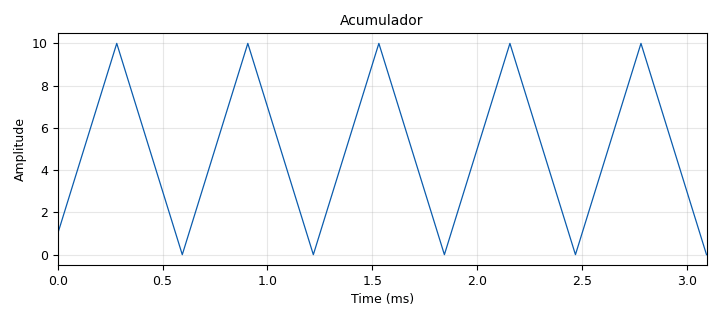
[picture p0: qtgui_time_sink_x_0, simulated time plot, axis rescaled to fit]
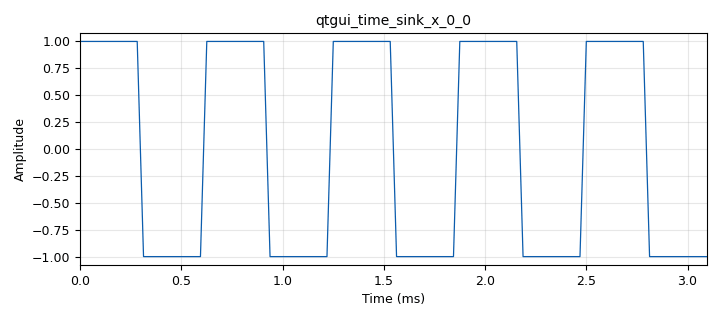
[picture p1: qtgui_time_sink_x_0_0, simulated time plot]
options:
  parameters:
    generate_options: qt_gui
    id: P1
    output_language: python
    title: Not titled yet
  states: {}

blocks:
- name: samp_rate
  id: variable
  parameters:
    value: '32000'
  states: {}
- name: blocks_throttle2_0
  id: blocks_throttle2
  parameters:
    samples_per_second: samp_rate
    type: float
  states: {}
- name: blocks_vector_source_x_0
  id: blocks_vector_source_x
  parameters:
    repeat: 'True'
    type: float
    vector: (1,1,1,1,1,1,1,1,1,1,-1,-1,-1,-1,-1,-1,-1,-1,-1,-1)
  states: {}
- name: epy_block_1
  id: epy_block
  parameters:
    _source_code: |-
      """
      Embedded Python Blocks:

      Each time this file is saved, GRC will instantiate the first class it finds
      to get ports and parameters of your block. The arguments to __init__  will
      be the parameters. All of them are required to have default values!
      """

      import numpy as np
      from gnuradio import gr


      class e_Acum(gr.sync_block):
          def __init__(self):
              gr.sync_block.__init__(
                  self,
                  name="e_Acum",
                  in_sig=[np.float32],
                  out_sig=[np.float32]
              )
              self.acum_anterior = 0.0

          def work(self, input_items, output_items):
              x = input_items[0]
              y0 = output_items[0]

              y0[:] = np.cumsum(x) + self.acum_anterior
              self.acum_anterior = y0[-1]

              return len(y0)
  states: {}
- name: epy_block_2
  id: epy_block
  parameters:
    _source_code: |-
      """
      Embedded Python Blocks:

      Each time this file is saved, GRC will instantiate the first class it finds
      to get ports and parameters of your block. The arguments to __init__  will
      be the parameters. All of them are required to have default values!
      """

      import numpy as np
      from gnuradio import gr


      class e_Diff(gr.sync_block):
              def __init__(self):
                  gr.sync_block.__init__(
                      self,
                      name='e_Diff',
                      in_sig=[np.float32],
                      out_sig=[np.float32]
                  )
                  self.prev_value = 0.0

              def work(self, input_items, output_items):
                  x = input_items[0]
                  y0 = output_items[0]

                  diff = np.diff(np.concatenate(([self.prev_value], x)))
                  y0[:] = diff

                  self.prev_value = x[-1]

                  return len(y0)
  states: {state: disabled}
- name: qtgui_time_sink_x_0
  id: qtgui_time_sink_x
  parameters:
    name: '"Acumulador"'
    size: '100'
    srate: samp_rate
    type: float
  states: {}
- name: qtgui_time_sink_x_0_0
  id: qtgui_time_sink_x
  parameters:
    size: '100'
    srate: samp_rate
    type: float
  states: {}

connections:
- [blocks_throttle2_0, '0', qtgui_time_sink_x_0, '0']
- [blocks_vector_source_x_0, '0', epy_block_1, '0']
- [blocks_vector_source_x_0, '0', epy_block_2, '0']
- [blocks_vector_source_x_0, '0', qtgui_time_sink_x_0_0, '0']
- [epy_block_1, '0', blocks_throttle2_0, '0']
- [epy_block_2, '0', blocks_throttle2_0, '0']

metadata:
  file_format: 1
  grc_version: v3.10.11.0-89-ga17f69e7
